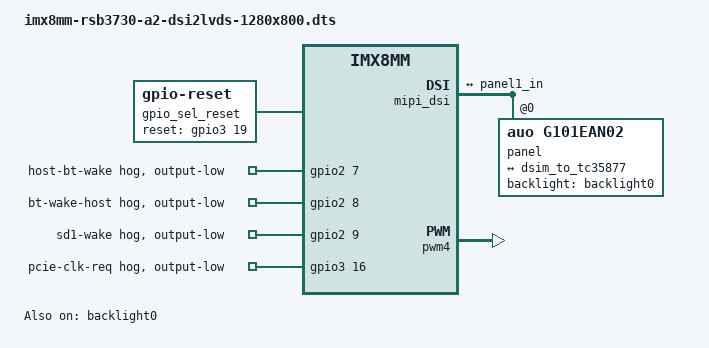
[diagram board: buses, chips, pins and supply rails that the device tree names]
/*
 * Copyright 2018 NXP
 *
 * This program is free software; you can redistribute it and/or
 * modify it under the terms of the GNU General Public License
 * as published by the Free Software Foundation; either version 2
 * of the License, or (at your option) any later version.
 *
 * This program is distributed in the hope that it will be useful,
 * but WITHOUT ANY WARRANTY; without even the implied warranty of
 * MERCHANTABILITY or FITNESS FOR A PARTICULAR PURPOSE.  See the
 * GNU General Public License for more details.
 */

#include "imx8mm-rsb3730-a2.dts"

/ {
	/delete-node/ rtl8367;

	gpio_sel_reset: gpio-sel-reset {
		compatible = "gpio-reset";
		reset-gpios = <&gpio3 19 GPIO_ACTIVE_HIGH>;
		reset-delay-us = <0>;
		reset-post-delay-ms = <0>;
		#reset-cells = <0>;
	};
};

&uart3_mode {
	default_mode = <1>;
};

&fec1 {
	/delete-property/ fsl,magic-packet;
};

&lt9611uxc {
	status = "disabled";
	/delete-node/ ports;
};

&mipi_dsi {
	/delete-node/ port@1;

	panel@0 {
		compatible = "auo,g101ean02";
		reg = <0>;
		backlight=<&backlight0>;
		panel-init-sequence = [
			29 00 06 3C 01 05 00 03	00
			29 00 06 14 01 03 00 00	00
			29 00 06 64 01 05 00 00	00
			29 00 06 68 01 05 00 00	00
			29 00 06 6C 01 05 00 00	00
			29 00 06 70 01 05 00 00	00
			29 00 06 34 01 1F 00 00	00
			29 00 06 10 02 1F 00 00	00
			29 00 06 04 01 01 00 00	00
			29 00 06 04 02 01 00 00	00
			29 00 06 50 04 20 01 F0	03
			29 00 06 54 04 0A 00 0A	00
			29 00 06 58 04 00 05 8C	00
			29 00 06 5C 04 04 00 04	00
			29 00 06 60 04 20 03 0F	00
			29 00 06 64 04 01 00 00	00
			29 01 06 A0 04 06 80 44	00
			29 00 06 A0 04 06 80 04	00
			29 00 06 04 05 04 00 00	00
			29 00 06 80 04 00 01 02	03
			29 00 06 84 04 04 07 05	08
			29 00 06 88 04 09 0A 0E	0F
			29 00 06 8C 04 0B 0C 0D	10
			29 00 06 90 04 16 17 11	12
			29 00 06 94 04 13 14 15	1B
			29 14 06 98 04 18 19 1A	06
			29 78 06 9C 04 31 00 00	00
		];
		panel-on-sequence = [
			05 78 01 11
			05 78 01 29
		];
		panel-off-sequence = [
			05 05 01 28
			05 78 01 10
		];

		port {
			panel1_in: endpoint {
				remote-endpoint = <&dsim_to_tc35877>;
			};
		};
	};

	port@1 {
		dsim_to_tc35877: endpoint {
			remote-endpoint = <&panel1_in>;
		};
	};
};

&pwm4 {
	status = "okay";
};

&backlight0 {
	status = "okay";
	lvds-bkl-delay-time = <150>;
	lvds-vcc-delay-time = <60>;
};

&usdhc1 {
	/delete-property/ keep-power-in-suspend;
};

&gpio2 {
	pinctrl-names = "default";
	pinctrl-0 = <&pinctrl_gpio_hog>;

	host-bt-wake {
		gpio-hog;
		gpios = <7 GPIO_ACTIVE_HIGH>;
		output-low;
		line-name = "host-bt-wake";
	};

	bt-wake-host {
		gpio-hog;
		gpios = <8 GPIO_ACTIVE_HIGH>;
		output-low;
		line-name = "bt-wake-host";
	};

	sd1-wake {
		gpio-hog;
		gpios = <9 GPIO_ACTIVE_HIGH>;
		output-low;
		line-name = "sd1-wake";
	};
};

&gpio3 {
	pcie-clk-req {
		gpio-hog;
		gpios = <16 GPIO_ACTIVE_HIGH>;
		output-low;
		line-name = "pcie-clk-req";
	};
};

&iomuxc {
	pinctrl_gpio_hog: hogmux {
		fsl,pins = <
			MX8MM_IOMUXC_SD1_DATA5_GPIO2_IO7		0x41    /* HOST_BT_WAKE */
			MX8MM_IOMUXC_SD1_DATA6_GPIO2_IO8		0x41    /* BT_WAKE_Z_HOST */
			MX8MM_IOMUXC_SD1_DATA7_GPIO2_IO9		0x41    /* SD1_WAKE */
			MX8MM_IOMUXC_NAND_READY_B_GPIO3_IO16	0x41	/* CLK_REQ */
		>;
	};
};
